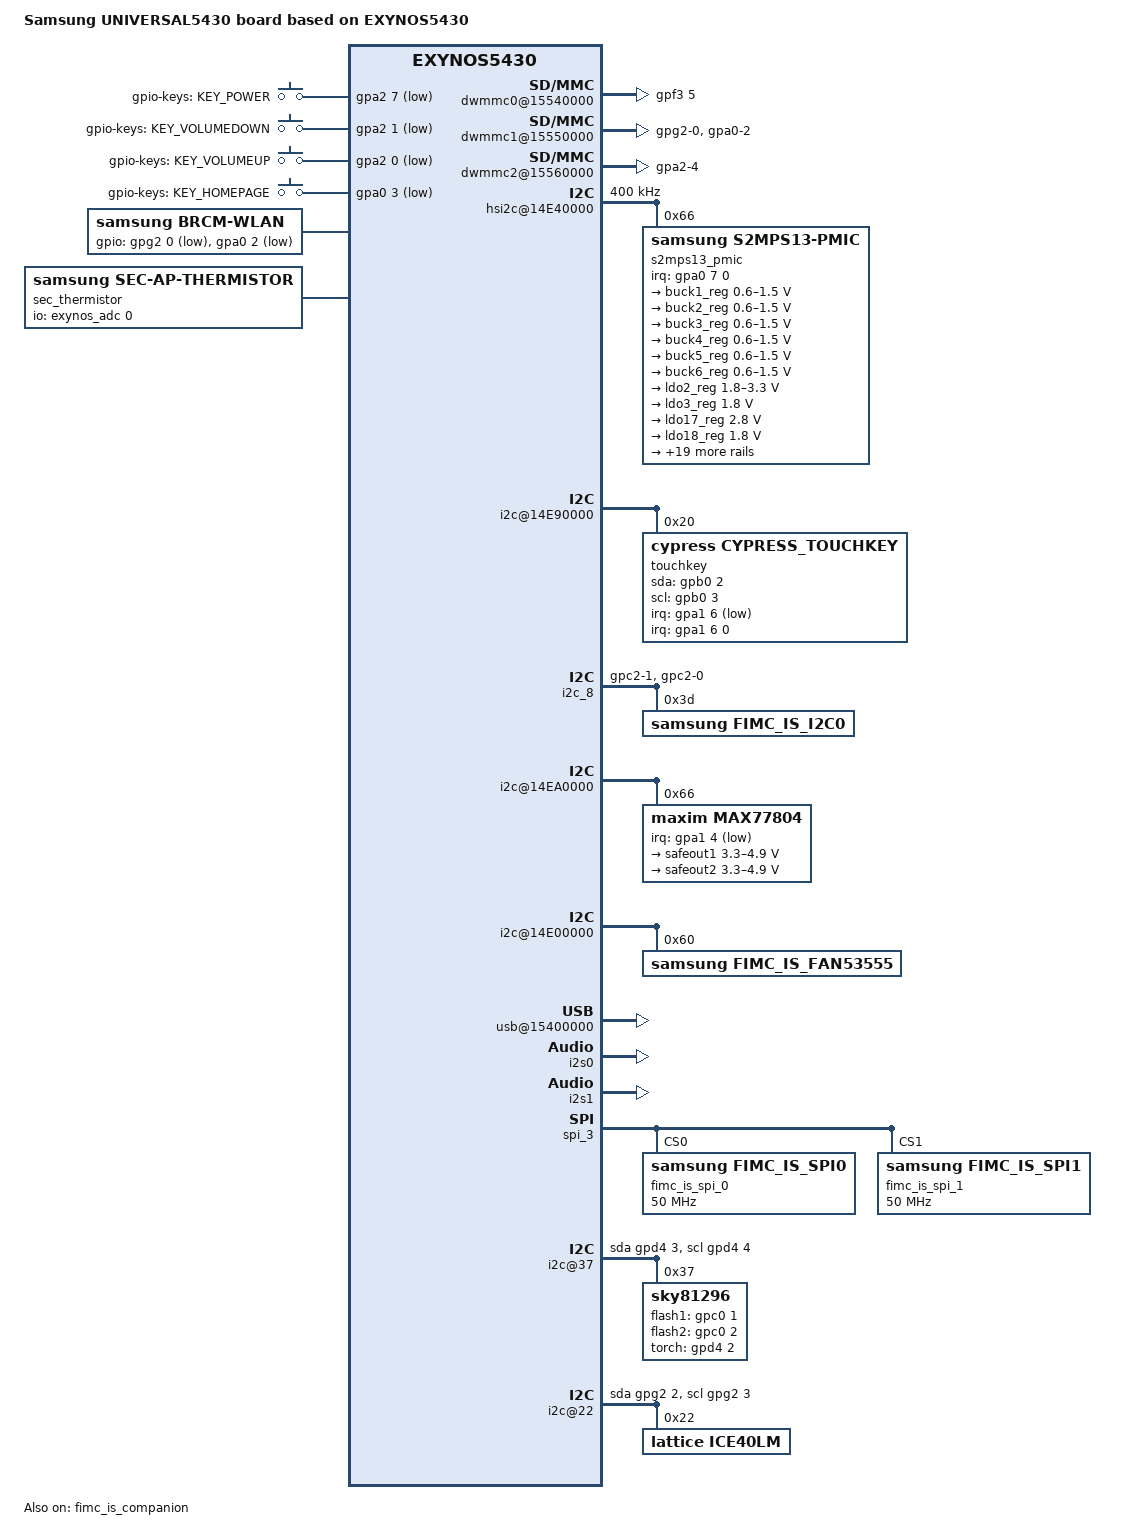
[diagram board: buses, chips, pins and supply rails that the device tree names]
/*
 * SAMSUNG UNIVERSAL5430 board device tree source
 *
 * Copyright (c) 2013 Samsung Electronics Co., Ltd.
 *		http://www.samsung.com
 *
 * This program is free software; you can redistribute it and/or modify
 * it under the terms of the GNU General Public License version 2 as
 * published by the Free Software Foundation.
*/

#include "exynos5430.dtsi"
#include "exynos5430-kq_mhl2x.dtsi"
#include "exynos5430-kq_gpio.dtsi"

/ {
	model = "Samsung UNIVERSAL5430 board based on EXYNOS5430";
	compatible = "samsung,UNIVERSAL5430", "samsung,exynos5430";

	chosen {
		bootargs = "console=ttySAC1,115200 vmalloc=512M";
	};

	fixed-rate-clocks {
		oscclk {
			compatible = "samsung,exynos5430-oscclk";
			clock-frequency = <24000000>;
		};
	};

	dwmmc0@15540000 {
		status = "okay";
		num-slots = <1>;
		broken-cd;
		bypass-smu;
		fixed_volt;
		only_once_tune;
		supports-highspeed;
		supports-hs200-1-8v-mode;
		supports-ddr200-1-8v-mode;
		supports-poweroff-notification;
		error-retry;
		enable-cache-control;
		qos_int_level = <138000>;
		extra_tuning;
		use-fine-tuning;
		ignore-phase = <(1 << 7)>;
		fifo-depth = <0x80>;
		card-detect-delay = <200>;
		samsung,dw-mshc-ciu-div = <3>;
		samsung,dw-mshc-sdr-timing = <3 0 2 0>;
		samsung,dw-mshc-ddr-timing = <3 0 3 2>;
		samsung,dw-mshc-hs200-timing = <3 0 3 0>;
		samsung,dw-mshc-ddr200-timing = <1 1 2 0>;
		samsung,dw-mshc-ddr200-delay-line = <100>;
		clk_pin = "gpr0-0";
		clk_addr = "15690000.pinctrl";
		clk_val = <0x3>;
		clk_str_num = <6>;
		num-ref-clks = <8>;
		ciu_clkin = <25 50 50 100 200 100 200 400>;
		pinctrl-names = "default";
		pinctrl-0 = <&sd0_clk &sd0_cmd &sd0_rdqs &sd0_bus1 &sd0_bus4 &sd0_bus8>;
		gpios = <&gpf3 5 0>;

		slot@0 {
			reg = <0>;
			bus-width = <8>;
		};
	};

	dwmmc1@15550000 {
		status = "okay";
		num-slots = <1>;
		channel = <1>;
		fixed_volt;
		supports-highspeed;
		supports-sdr104-mode;
		keep-power-in-suspend;
		pm-ignore-notify;
		cd-type-external;
		cd-type = <2>;
		use-broken-voltage;
		ignore-phase = <(1 << 7)>;
		fifo-depth = <0x40>;
		card-detect-delay = <200>;
		qos_int_level = <200000>;
		samsung,dw-mshc-ciu-div = <3>;
		samsung,dw-mshc-sdr-timing = <3 0 2 1>;
		samsung,dw-mshc-ddr-timing = <3 0 3 2>;
		clk_pin = "gpr2-0";
		clk_addr = "15690000.pinctrl";
		clk_val = <0x3>;
		clk_str_num = <6>;
		num-ref-clks = <8>;
		ciu_clkin = <25 50 50 100 200 100 200 400>;
		tp_mon_depth = <3>;
						/* Byte/s,	 MIF clk, CPU clk, KFC clk*/
		tp_mon_table = <18000000 825000	1500000 1500000
						12000000 413000	0	0
						0	 0	0	0>;
		pinctrl-names = "default";
		//pinctrl-0 = <&sd1_clk &sd1_cmd &sd1_bus1 &sd1_bus4>;
		pinctrl-0 = <&sd1_clk &sd1_cmd &sd1_bus1 &sd1_bus4 &cfg_wlanen &cfg_wlanhostwake>; /* Set WLAN_EN configuration of power down mode */

		slot@0 {
			reg = <0>;
			bus-width = <4>;
		};
	};


	dwmmc2@15560000 {
		status = "okay";
		num-slots = <1>;
		supports-highspeed;
		cd-type = <0>;
		fifo-depth = <0x40>;
		card-detect-delay = <200>;
		qos_int_level = <200000>;
		samsung,dw-mshc-ciu-div = <3>;
		samsung,dw-mshc-sdr-timing = <3 0 2 1>;
		samsung,dw-mshc-ddr-timing = <3 0 3 2>;
		clk_pin = "gpr4-0";
		clk_addr = "15690000.pinctrl";
		clk_val = <0x2>;
		clk_str_num = <6>;
		num-ref-clks = <8>;
		ciu_clkin = <25 50 50 100 200 100 200 400>;
		pinctrl-names = "default";
		pinctrl-0 = <&sd2_clk &sd2_cmd &sd2_cd &sd2_bus1 &sd2_bus4 &dwmmc2_cd_irq>;

		gpio-controller;
		#gpio-cells = <2>;
		cd-gpio = <&gpa2 4 0xf>;

		slot@0 {
			reg = <0>;
			bus-width = <4>;
			disable-wp;
		};
	};

	serial@11460000 {
		samsung,uart-wake-peer;
	};

	pinctrl@10580000 {
		pmic_irq: pmic-irq {
			samsung,pins = "gpa0-7";
			samsung,pin-function = <0>;
			samsung,pin-pud = <3>;
			samsung,pin-drv = <3>;
		};

		chg_irq: chg-irq {
			samsung,pins = "gpa1-5";
			samsung,pin-function = <0>;
			samsung,pin-pud = <3>;
			samsung,pin-drv = <3>;
		};

		hall_irq: hall-irq {
			samsung,pins = "gpa0-1";
			samsung,pin-function = <0xf>;
			samsung,pin-pud = <0>;
			samsung,pin-drv = <0>;
		};

		mfd_irq: mfd-irq {
			samsung,pins = "gpa1-4";
			samsung,pin-function = <0>;
			samsung,pin-pud = <0>;
			samsung,pin-drv = <0>;
		};

		fuel_irq: fuel-irq {
			samsung,pins = "gpa1-5";
			samsung,pin-function = <0>;
			samsung,pin-pud = <0>;
			samsung,pin-drv = <0>;
		};

		btp_irq: btp-irq {
			samsung,pins = "gpa1-7";
			samsung,pin-function = <0>;
			samsung,pin-pud = <3>;
			samsung,pin-drv = <3>;
		};

		dwmmc2_cd_irq: dwmmc2-cd-irq {
			samsung,pins = "gpa2-4";
			samsung,pin-function = <0>;
			samsung,pin-pud = <3>;
			samsung,pin-drv = <3>;
		};

		btp_reset: btp-reset {
			samsung,pins = "gpa3-1";
			samsung,pin-function = <0>;
			samsung,pin-pud = <3>;
			samsung,pin-drv = <3>;
		};
		ssp_irq: ssp-irq {
			samsung,pins = "gpa3-3";
			samsung,pin-function = <0xf>;
			samsung,pin-pud = <3>;
			samsung,pin-drv = <3>;
		};
		ssp_irq2: ssp-irq2 {
			samsung,pins = "gpa3-4";
			samsung,pin-function = <0>;
			samsung,pin-pud = <3>;
			samsung,pin-drv = <3>;
		};
		ssp_ap_int: ssp-ap-int {
			samsung,pins = "gpa3-7";
			samsung,pin-function = <0>;
			samsung,pin-pud = <3>;
			samsung,pin-drv = <3>;
		};
		hrm_int: hrm-int {
			samsung,pins = "gpa0-6";
			samsung,pin-function = <0>;
			samsung,pin-pud = <0>;
			samsung,pin-drv = <3>;
		};
	};
	pinctrl@14CC0000 {
		/* Warm reset information from AP */
		pm_wrsti: pm-wrsti {
			samsung,pins = "gpf5-4";
			samsung,pin-con-pdn = <3>;
		};
	};
	pinctrl@14CC0000 {
		/* touchkey i2c*/
		cfg_i2c: cfg-i2c {
			samsung,pins = "gpb0-3", "gpb0-2";
			samsung,pin-function = <3>;
			samsung,pin-pud = <0>;
			samsung,pin-drv = <0>;
		};
		cfg_gpio: cfg_gpio {
			samsung,pins = "gpb0-3", "gpb0-2";
			samsung,pin-function = <0>;
			samsung,pin-pud = <0>;
			samsung,pin-drv = <0>;
		};
	};

	pinctrl@10580000 {
		/* touchkey interrupt*/
		cfg_irq: cfg-irq {
			samsung,pins = "gpa1-6";
			samsung,pin-function = <0xf>;
			samsung,pin-pud = <0>;
			samsung,pin-drv = <0>;
		};
		cfg_input: cfg-input {
			samsung,pins = "gpa1-6";
			samsung,pin-function = <0>;
			samsung,pin-pud = <1>;
			samsung,pin-drv = <0>;
		};
	};

	hsi2c@14E40000 {
		samsung,hs-mode;
		clock-frequency = <400000>;
		status = "okay";

		s2mps13_pmic@66 {
			compatible = "samsung,s2mps13-pmic";
			reg = <0x66>;
			interrupts = <7 0 0>;
			interrupt-parent = <&gpa0>;
			pinctrl-names = "default";
			pinctrl-0 = <&pmic_irq &pm_wrsti>;
			/* RTC: wtsr/smpl */
			wtsr_en = <1>; /* enable */
			smpl_en = <1>; /* enable */
			wtsr_timer_val = <3>;	/* 1000ms */
			smpl_timer_val = <4>;	/* 500ms */
			check_jigon = <0>; /* do not check jigon */
			/* RTC: If it's first boot, reset rtc to 1/1/2014 12:00:00(Wed) */
			init_time,sec = <0>;
			init_time,min = <0>;
			init_time,hour = <12>;
			init_time,mday = <1>;
			init_time,mon = <0>;
			init_time,year = <114>;
			init_time,wday = <3>;

			regulators {
				buck1_reg: BUCK1 {
					regulator-name = "vdd_mif";
					regulator-min-microvolt = <600000>;
					regulator-max-microvolt = <1500000>;
					regulator-always-on;
					regulator-boot-on;
					regulator-ramp-delay = <12000>;
					regulator-initial-mode = <1>;
				};

				buck2_reg: BUCK2 {
					regulator-name = "vdd_eagle";
					regulator-min-microvolt = <600000>;
					regulator-max-microvolt = <1500000>;
					regulator-always-on;
					regulator-boot-on;
					regulator-ramp-delay = <12000>;
					regulator-initial-mode = <1>;
				};

				buck3_reg: BUCK3 {
					regulator-name = "vdd_kfc";
					regulator-min-microvolt = <600000>;
					regulator-max-microvolt = <1500000>;
					regulator-always-on;
					regulator-boot-on;
					regulator-ramp-delay = <12000>;
					regulator-initial-mode = <1>;
				};

				buck4_reg: BUCK4 {
					regulator-name = "vdd_int";
					regulator-min-microvolt = <600000>;
					regulator-max-microvolt = <1500000>;
					regulator-always-on;
					regulator-boot-on;
					regulator-ramp-delay = <12000>;
					regulator-initial-mode = <1>;
				};

				buck5_reg: BUCK5 {
					regulator-name = "vdd_disp_cam0";
					regulator-min-microvolt = <600000>;
					regulator-max-microvolt = <1500000>;
					regulator-always-on;
					regulator-boot-on;
					regulator-ramp-delay = <12000>;
					regulator-initial-mode = <1>;
				};

				buck6_reg: BUCK6 {
					regulator-name = "vdd_g3d";
					regulator-min-microvolt = <600000>;
					regulator-max-microvolt = <1500000>;
					regulator-always-on;
					regulator-boot-on;
					regulator-ramp-delay = <12000>;
					regulator-initial-mode = <1>;
				};

				ldo2_reg: LDO2 {
					regulator-name = "vqmmc";
					regulator-min-microvolt = <1800000>;
					regulator-max-microvolt = <3300000>;
					regulator-boot-on;
					regulator-ramp-delay = <12000>;
					regulator-initial-mode = <1>;
				};

				ldo3_reg: LDO3 {
					regulator-name = "VDD1_E_1.8V_AP";
					regulator-min-microvolt = <1800000>;
					regulator-max-microvolt = <1800000>;
					regulator-always-on;
					regulator-initial-mode = <3>;
				};

				ldo17_reg: LDO17 {
					regulator-name = "vmmc";
					regulator-min-microvolt = <2800000>;
					regulator-max-microvolt = <2800000>;
				};

				ldo18_reg: LDO18 {
					regulator-name = "V_HRM_1.8V";
					regulator-min-microvolt = <1800000>;
					regulator-max-microvolt = <1800000>;
				};

				ldo19_reg: LDO19 {
					regulator-name = "VDDA_1.8V_COMP";
					regulator-min-microvolt = <1800000>;
					regulator-max-microvolt = <1800000>;
				};

				ldo21_reg: LDO21 {
					regulator-name = "VT_CAM_1.8V";
					regulator-min-microvolt = <1800000>;
					regulator-max-microvolt = <1800000>;
				};

				ldo22_reg: LDO22 {
					regulator-name = "CAM_IO_1.8V_AP";
					regulator-min-microvolt = <1800000>;
					regulator-max-microvolt = <1800000>;
				};

				ldo23_reg: LDO23 {
					regulator-name = "CAM_SEN_CORE_1.2V_AP";
					regulator-min-microvolt = <1200000>;
					regulator-max-microvolt = <1200000>;
				};

				ldo24_reg: LDO24 {
					regulator-name = "VT_CAM_1.2V";
					regulator-min-microvolt = <1200000>;
					regulator-max-microvolt = <1200000>;
				};

				ldo25_reg: LDO25 {
					regulator-name = "CAM_SEN_A2.8V_AP";
					regulator-min-microvolt = <2800000>;
					regulator-max-microvolt = <2800000>;
				};

				ldo26_reg: LDO26 {
					regulator-name = "CAM_AF_2.8V_AP";
					regulator-min-microvolt = <2800000>;
					regulator-max-microvolt = <2800000>;
				};

				ldo27_reg: LDO27 {
					regulator-name = "VCC_3.0V_LCD_AP";
					regulator-min-microvolt = <3000000>;
					regulator-max-microvolt = <3000000>;
					regulator-boot-on;
				};

				ldo28_reg: LDO28 {
					regulator-name = "VCC_1.8V_LCD_AP";
					regulator-min-microvolt = <1800000>;
					regulator-max-microvolt = <1800000>;
					regulator-boot-on;
				};

				ldo29_reg: LDO29 {
					regulator-name = "VT_CAM_2.8V";
					regulator-min-microvolt = <2800000>;
					regulator-max-microvolt = <2800000>;
				};

				ldo30_reg: LDO30 {
					regulator-name = "tsp_avdd";
					regulator-min-microvolt = <3300000>;
					regulator-max-microvolt = <3300000>;
				};

				ldo31_reg: LDO31 {
					regulator-name = "tsp_io";
					regulator-min-microvolt = <1800000>;
					regulator-max-microvolt = <1800000>;
				};

				ldo32_reg: LDO32 {
					regulator-name = "vtouch_1.8v";
					regulator-min-microvolt = <1800000>;
					regulator-max-microvolt = <1800000>;
				};

				ldo33_reg: LDO33 {
					regulator-name = "vtouch_3.3v";
					regulator-min-microvolt = <3300000>;
					regulator-max-microvolt = <3300000>;
				};

				ldo34_reg: LDO34 {
					regulator-name = "VCC_1.8V_MHL";
					regulator-min-microvolt = <1800000>;
					regulator-max-microvolt = <1800000>;
				};

				ldo35_reg: LDO35 {
					regulator-name = "FPGA_3.3V";
					regulator-min-microvolt = <3300000>;
					regulator-max-microvolt = <3300000>;
				};

				ldo36_reg: LDO36 {
					regulator-name = "VSIL_1.2V";
					regulator-min-microvolt = <1200000>;
					regulator-max-microvolt = <1200000>;
				};

				ldo38_reg: LDO38 {
					regulator-name = "VCC_3.0V_MOTOR_AP";
					regulator-min-microvolt = <3000000>;
					regulator-max-microvolt = <3000000>;
				};

				ldo40_reg: LDO40 {
					regulator-name = "V_IRLED_3.3V";
					regulator-min-microvolt = <3300000>;
					regulator-max-microvolt = <3300000>;
					regulator-initial-mode = <1>;
				};
			};
		};
	};

	i2c@14E90000 {
		samsung,i2c-sda-delay = <100>;
		samsung,i2c-max-bus-freq = <400000>;
		status = "okay";
		pinctrl-names = "default","on_i2c","off_i2c";
		pinctrl-0 = <&i2c5_bus>;
		pinctrl-1 = <&cfg_i2c>;
		pinctrl-2 = <&cfg_gpio>;
		touchkey@20 {
			pinctrl-names = "on_irq","off_irq";
			pinctrl-0 = <&cfg_irq>;
			pinctrl-1 = <&cfg_input>;
			compatible = "cypress,cypress_touchkey";
			reg = <0x20>;
			interrupts = <6 0 0>;
			interrupt-parent = <&gpa1>;
			cypress,sda-gpio = <&gpb0 2 0>;
			cypress,scl-gpio = <&gpb0 3 0>;
			cypress,irq-gpio = <&gpa1 6 1>;
		};
	};

	i2c_8: i2c@14130000 {
                compatible = "samsung,exynos5430-fimc-i2c";
                reg = <0x14130000 0x1000>;
                interrupts = <0 166 0>; /* NON */
                #address-cells = <1>;
                #size-cells = <0>;
                pinctrl-names = "default";
                pinctrl-0 = <&fimc_is_i2c_0>;
                clocks = <&clock 4184>, <&clock 4184>; /* No clock gating */
                clock-names = "rate_i2c","gate_i2c";
                samsung,i2c-sda-delay = <100>;
                samsung,i2c-max-bus-freq = <400000>;
                status = "okay";

                fimc_is_i2c0@3d {
                        compatible = "samsung,fimc_is_i2c0";
                        reg = <0x3d>;
                };
        };


	i2c@14EA0000 {
		samsung,i2c-sda-delay = <100>;
		samsung,i2c-max-bus-freq = <400000>;
		status = "okay";
		max77804@66 {
			compatible = "maxim,max77804";
			reg = <0x66>;
			pinctrl-names = "default";
			pinctrl-0 = <&mfd_irq &vibetonz_pwm>;
			max77804,irq-gpio = <&gpa1 4 1>;
			max77804,wakeup;

			regulators {
				safeout1: ESAFEOUT1 {
					regulator-compatible = "safeout1";
					regulator-name = "safeout1_range";
					regulator-min-microvolt = <3300000>;
					regulator-max-microvolt = <4900000>;
					regulator-boot-on;
				};

				safeout2: ESAFEOUT2 {
					regulator-compatible = "safeout2";
					regulator-name = "safeout2_range";
					regulator-min-microvolt = <3300000>;
					regulator-max-microvolt = <4900000>;
				};
			};
		};
	};

	haptic {
		status = "okay";
		haptic,max_timeout = <10000>;
		haptic,duty = <32047>;
		haptic,period = <33500>;
		haptic,reg2 = <0x82>;
		haptic,pwm_id = <0>;
		haptic,regulator_name = "VCC_3.0V_MOTOR_AP";
	};

	i2c@14E00000 {
		fimc_is_fan53555@60 {
			compatible = "samsung,fimc_is_fan53555";
			reg = <0x60>;
			comp_en = <&gpf1 7 0x01>;
			status = "okay";
		};
	};

	/* disp_driver */
	decon_fb: decon_fb {
		oled-id-gpio = <&gpf2 1 0x0>;
		lcd_info = <&s6e3ha0 &s6e3fa2>;
		display,regulator-names = "VCC_1.8V_LCD_AP", "VCC_3.0V_LCD_AP";

		mipi_dsi: mipi_dsi {
			gpios = <&gpv7 2 0x1>, <&gpf1 5 0x1>;

			/* Interface definition: 0 - DSIM_COMMAND,
						 1 - DSIM_VDEO */
			e_interface = <0>;

			/* Pixel format : 0 - DSIM_CMD_3BPP,
					  1 - DSIM_CMD_8BPP,
					  2 - DSIM_CMD_12BPP,
					  3 - DSIM_CMD_16BPP,
					  4 - DSIM_VID_16BPP_565,
					  5 - DSIM_VID_18BPP_666PACKED,
					  6 - DSIM_18BPP_666LOOSELYPACKED,
					  7 - DSIM_24BPP_888 */
			e_pixel_format = <7>;

			/* main frame fifo auto flush at VSYNC pulse */
			auto_flush = <0>;
			eot_disable = <1>;
			auto_vertical_cnt = <0>;
			hse = <0>;
			hfp = <0>;
			hbp = <0>;
			hsa = <0>;

			/* num of data lane : 0 - DSIM_DATA_LANE_1,
					      1 - DSIM_DATA_LANE_2,
					      2 - DSIM_DATA_LANE_3,
					      3 - DSIM_DATA_LANE_4 */
			e_no_data_lane = <3>;
			/* byte clock divider : 0 - DSIM_PLL_OUT_DIV8,
						1 - DSIM_EXT_CLK_DIV8,
						2 - DSIM_EXT_CLK_BYPASS */
			e_byte_clk = <0>;
			/* Burst mode : 0 - DSIM_NON_BURST_SYNC_EVENT,
					2 - DSIM_NON_BURST_SYNC_PULSE,
					1 - DSIM_BURST
					4 - DSIM_NON_VIDEO_MODE */
			e_burst_mode = <1>;
			/* D-PHY PLL stable time spec :min = 200usec ~ max 400usec */
			pll_stable_time = <22200>;
			/* stop state holding counter after bta change count 0 ~ 0xfff */
			stop_holding_cnt = <10>;
			/* bta timeout 0 ~ 0xff */
			bta_timeout = <0xff>;
			/* lp rx timeout 0 ~ 0xffff */
			rx_timeout = <0xffff>;
		};
		s6e3ha0: s6e3ha0_wqhd {
			mode = <1>;
			resolution = <1440 2560>;
			size = <65 115>;
			timing,refresh = <60>;
			timing,h-porch = <1 1 1>;
			timing,v-porch = <15 1 1>;
			timing,dsi-hs-clk = <1100>;
			timing,dsi-escape-clk = <20>;
			mic = <1>;
		};
		s6e3fa2: s6e3fa2_fhd {
			mode = <1>;
			resolution = <1080 1920>;
			size = <65 115>;
			timing,refresh = <60>;
			timing,h-porch = <10 1 1>;
			timing,v-porch = <1 1 1>;
			timing,dsi-hs-clk = <1100>;
			timing,dsi-escape-clk = <20>;
		};
	};

	usb@15400000 {
		status = "okay";
		/* using gpio (1:use, 0:not use) */
		is_gpio = <0>;

		dwc3 {
			maximum-speed = "super-speed";
			dr_mode = "otg";
		};
	};

	usb@15510000 {
		/* using gpio (1:use, 0:not use) */
		is_gpio = <0>;
	};

	usb_notifier {
		compatible = "samsung,usb-notifier";
	};

	gpio_keys {
		compatible = "gpio-keys";
		#address-cells = <1>;
		#size-cells = <0>;
		poll-interval = <100>;
		button@1 {
			label = "gpio-keys: KEY_POWER";
			interrupts = <7 0 0>;
			interrupt-parent = <&gpa2>;
			linux,code = <116>;
			gpios = <&gpa2 7 0xf>;
			gpio-key,wakeup = <1>;
		};
		button@2 {
			label = "gpio-keys: KEY_VOLUMEDOWN";
			interrupts = <1 0 0>;
			interrupt-parent = <&gpa2>;
			linux,code = <114>;
			gpios = <&gpa2 1 0xf>;
		};
		button@3 {
			label = "gpio-keys: KEY_VOLUMEUP";
			interrupts = <0 0 0>;
			interrupt-parent = <&gpa2>;
			linux,code = <115>;
			gpios = <&gpa2 0 0xf>;
		};
		button@4 {
			label = "gpio-keys: KEY_HOMEPAGE";
			interrupts = <3 0 0>;
			interrupt-parent = <&gpa0>;
			linux,code = <172>;
			gpios = <&gpa0 3 0xf>;
			gpio-key,wakeup = <1>;
		};
	};

	sec_input_debug-keys {
		compatible = "sec_input_debug-keys";

		button@1 {
			label = "debug-keys: KEY_POWER";
			linux,code = <116>;
		};
		button@2 {
			label = "debug-keys: KEY_VOLUMEDOWN";
			linux,code = <114>;
			state = "true";
		};
		button@3 {
			label = "debug-keys: KEY_VOLUMEUP";
			linux,code = <115>;
		};
	};

	i2s0: i2s@11440000 {
		status = "okay";
	};

	i2s1: i2s@14D60000 {
		status = "okay";
	};

	spi_3: spi@141a0000 {
		clocks = <&clock 2625>, <&clock 4083>; /* Workaround for SPI read in A5 */
		clock-names = "spi", "spi_busclk0";    /* Must be removed later */
		#address-cells = <1>;
		#size-cells = <0>;

		num-cs = <2>;

		fimc_is_spi_0@0 {
			compatible = "samsung,fimc_is_spi0";
			spi-max-frequency = <50000000>;
			reg = <0x0>;

			controller-data {
				cs-gpio = <&gpc0 6 0>;
				samsung,spi-feedback-delay = <0>;
			};
		};

		fimc_is_spi_1@1 {
			compatible = "samsung,fimc_is_spi1";
			fimc_is_spi_sclk = "gpc3-0";
			fimc_is_spi_ssn = "gpc3-1";
			fimc_is_spi_miso = "gpc3-2";
			fimc_is_spi_mois = "gpc3-3";
			spi-max-frequency = <50000000>;
			reg = <0x1>;
			pinctrl-names = "default";
			pinctrl-0 = <&fimc_is_comp_int>;

			controller-data {
				cs-gpio = <&gpc3 1 0>;
				samsung,spi-feedback-delay = <0>;
			};
		};
	};

	/* Companion driver */
	fimc_is_companion: fimc_is_companion@14180000 {
		compatible = "samsung,exynos5-fimc-is-companion";
		pinctrl-names ="default", "ch0", "af0", "off0";
		pinctrl-0 = <&fimc_is_ch0_mclk_off>;
		pinctrl-1 = <&fimc_is_ch0_i2c &fimc_is_ch0_mclk>;
		pinctrl-2 = <&fimc_is_ch0_i2c &fimc_is_ch0_mclk &fimc_is_ch1_i2c>;
		pinctrl-3 = <&fimc_is_ch0_mclk_off>;

		scenario = <0>;
		mclk_ch = <0>;
		gpio_reset = <&gpc0 4 0x1>;
		gpios_comp_en = <&gpf1 7 0x1>; /* COMP_EN */
		gpios_comp_reset = <&gpf5 7 0x1>; /* COMP_rstn */

		status = "okay";
	};

	fimc_is_sensor0: fimc_is_sensor@12100000 {
		scenario = <0>;
		gpio_reset = <&gpc0 4 0x1>;
		id = <0>;
		mclk_ch = <0>;
		csi_ch = <0>;
		flite_ch = <0>;
		i2c_ch = <0x100>;
		i2c_addr = <0x5A5A>;
		flash_first_gpio = <1>;
		flash_second_gpio = <2>;
		sensor_name = "2p2";
		sensor_id = <10>;
		is_bns = <1>;
		status = "okay";
	};

	fimc_is_sensor1: fimc_is_sensor@12110000 {
		pinctrl-names ="default", "ch2", "off2";
		pinctrl-0 = <&fimc_is_ch2_mclk_off>;
		pinctrl-1 = <&fimc_is_ch2_i2c &fimc_is_ch2_mclk>;
		pinctrl-2 = <&fimc_is_ch2_mclk_off>;

		scenario = <0>;
		gpio_reset = <&gpc0 3 0x1>;
		gpio_standby = <&gpc0 0 0x1>;
		id = <1>;
		mclk_ch = <2>;
		csi_ch = <2>;
		flite_ch = <2>;
		i2c_ch = <0x2>;
		i2c_addr = <0x6A>;
		sensor_name = "8b1";
		sensor_id = <11>;
		is_bns = <0>;
		status = "okay";
	};

	fimc_is@14000000 {
		interrupts = <0 165 0>; /* Remove ISP_GIC to use FIMC IS i2c channel in host */
		companion_spi_channel = <0>;
		use_vision = <1>;
		fimc_is_dvfs {
			default_int = <543000>; /* L0 */
			default_cam = <777000>; /* L0 */
			default_mif = <825000>; /* L0 */
			default_i2c = <0>;

			front_preview_int = <317000>; /* L1 */
			front_preview_cam = <222000>; /* L7 */
			front_preview_mif = <825000>; /* L0 */
			front_preview_i2c = <0>;

			front_capture_int = <317000>; /* L1 */
			front_capture_cam = <222000>; /* L7 */
			front_capture_mif = <825000>; /* L0 */
			front_capture_i2c = <0>;

			front_camcording_int = <317000>; /* L1 */
			front_camcording_cam = <222000>; /* L7 */
			front_camcording_mif = <825000>; /* L0 */
			front_camcording_i2c = <0>;

			front_vt1_int = <317000>; /* L1 */
			front_vt1_cam = <222000>; /* L7 */
			front_vt1_mif = <825000>; /* L0 */
			front_vt1_i2c = <0>;

			front_vt2_int = <317000>; /* L1 */
			front_vt2_cam = <222000>; /* L7 */
			front_vt2_mif = <825000>; /* L0 */
			front_vt2_i2c = <0>;

			rear_preview_fhd_int = <317000>; /* L1 */
			rear_preview_fhd_cam = <333000>; /* L6 */
			rear_preview_fhd_mif = <633000>; /* L1 */
			rear_preview_fhd_i2c = <0>;

			rear_preview_whd_int = <317000>; /* L1 */
			rear_preview_whd_cam = <333000>; /* L6 */
			rear_preview_whd_mif = <825000>; /* L0 */
			rear_preview_whd_i2c = <0>;

			rear_preview_uhd_int = <543000>; /* L0_A */
			rear_preview_uhd_cam = <555000>; /* L2 */
			rear_preview_uhd_mif = <825000>; /* L0 */
			rear_preview_uhd_i2c = <0>;

			rear_capture_int = <400000>; /* L0 */
			rear_capture_cam = <666000>; /* L1 */
			rear_capture_mif = <825000>; /* L0 */
			rear_capture_i2c = <0>;

			rear_camcording_fhd_int = <317000>; /* L1 */
			rear_camcording_fhd_cam = <455000>; /* L4 */
			rear_camcording_fhd_mif = <633000>; /* L1 */
			rear_camcording_fhd_i2c = <0>;

			rear_camcording_uhd_int = <543000>; /* L0_A */
			rear_camcording_uhd_cam = <555000>; /* L2 */
			rear_camcording_uhd_mif = <825000>; /* L0 */
			rear_camcording_uhd_i2c = <0>;

			dual_preview_int = <317000>; /* L1 */
			dual_preview_cam = <444000>; /* L5 */
			dual_preview_mif = <825000>; /* L0 */
			dual_preview_i2c = <0>;

			dual_capture_int = <400000>; /* L0 */
			dual_capture_cam = <777000>; /* L0 */
			dual_capture_mif = <825000>; /* L0 */
			dual_capture_i2c = <0>;

			dual_camcording_int = <317000>; /* L1 */
			dual_camcording_cam = <466000>; /* L3 */
			dual_camcording_mif = <825000>; /* L0 */
			dual_camcording_i2c = <0>;

			high_speed_fps_int = <400000>; /* L0 */
			high_speed_fps_cam = <666000>; /* L1 */
			high_speed_fps_mif = <825000>; /* L0 */
			high_speed_fps_i2c = <0>;

			dis_enable_int = <543000>; /* L0 */
			dis_enable_cam = <777000>; /* L0 */
			dis_enable_mif = <825000>; /* L0 */
			dis_enable_i2c = <0>;

			max_int = <543000>; /* L0 */
			max_cam = <777000>; /* L0 */
			max_mif = <825000>; /* L0 */
			max_i2c = <0>;
		};
	};

	pinctrl@14CC0000 {
		fimc_is_ch0_i2c: fimc-is-ch0_i2c {
			samsung,pins = "gpc2-3", "gpc2-2";
			samsung,pin-function = <2>;
			samsung,pin-pud = <3>;
			samsung,pin-drv = <6>;
		};
		fimc_is_i2c_0: fimc-is-i2c-0 {
			samsung,pins = "gpc2-1", "gpc2-0";
                        samsung,pin-function = <2>;
                        samsung,pin-pud = <3>;
                        samsung,pin-drv = <6>;
		};
		fimc_is_flash: fimc-is-flash {
			samsung,pins = "gpc0-2", "gpc0-1";
			samsung,pin-function = <2>;
			samsung,pin-pud = <0>;
			samsung,pin-drv = <0>;
		};
		driver_flash: driver-flash {
			samsung,pins = "gpc0-2", "gpc0-1";
			samsung,pin-function = <1>;
			samsung,pin-pud = <0>;
			samsung,pin-drv = <0>;
		};
		fimc_is_comp_int: fimc-is-comp-int {
			samsung,pins = "gpc1-0";
			samsung,pin-function = <3>;
			samsung,pin-pud = <0>;
			samsung,pin-drv = <0>;
		};
		sky_torch: sky-torch {
			samsung,pins = "gpc0-5";
			samsung,pin-function = <1>;
			samsung,pin-pud = <0>;
			samsung,pin-drv = <0>;
		};
		uart1_bus: uart1-bus {
			samsung,pins = "gpd1-1", "gpd1-0";
			samsung,pin-function = <2>;
			samsung,pin-pud = <0>;
		};

		fimc_is_ch0_mclk: fimc-is-ch0_mclk {
			samsung,pin-drv = <2>;
		};

		fimc_is_ch0_mclk_off: fimc-is-ch0_mclk_off {
			samsung,pins = "gpd7-0";
			samsung,pin-function = <1>;
			samsung,pin-pud = <1>;
			samsung,pin-drv = <0>;
		};

		fimc_is_ch2_mclk: fimc-is-ch2-mclk {
			samsung,pin-drv = <2>;
		};

		fimc_is_ch2_mclk_off: fimc-is-ch2_mclk_off {
			samsung,pins = "gpd7-2";
			samsung,pin-function = <1>;
			samsung,pin-pud = <1>;
			samsung,pin-drv = <0>;
		};
	};

	pinctrl@14CC0000 {
		btp_ldo: btp-ldo {
			samsung,pins = "gpf4-0";
			samsung,pin-function = <1>;
			samsung,pin-pud = <1>;
			samsung,pin-drv = <0>;
		};

		ssp_reset: ssp-reset {
			samsung,pins = "gpd4-0";
			samsung,pin-function = <0>;
			samsung,pin-pud = <3>;
			samsung,pin-drv = <3>;
		};
	};

	i2s_dummy: dummy-i2s {
		compatible = "samsung,dummy-i2s";
		status = "okay";
	};

	codec_dummy: dummy-codec {
		compatible = "samsung,dummy-codec";
		status = "okay";
	};

	sound {
		compatible = "samsung,pacific-arizona";
		samsung,audio-cpu = <&i2s0		/* primary */
				     &i2s_dummy
				     &i2s_dummy
				     &i2s0		/* secondary */
				     &i2s1>;
		samsung,audio-codec = <&audio_codec
				       &audio_codec
				       &audio_codec
				       &audio_codec
				       &codec_dummy>;
		status = "okay";
	};

	hdmi {
		compatible = "samsung,pacific-hdmi";
		samsung,audio-cpu = <&i2s1>;
		samsung,audio-codec = <&codec_dummy>;
		status = "okay";
	};

	muic {
		status = "disabled";
		muic,support-list = "MHL","OTG","Jig USB On","Jig UART Off",
				    "Jig UART Off + VB","Jig UART On",
				    "TA","USB","CDP","Unofficial",
				    "Fuelgauge test";
	};

	rgb {
		rgb-name = "led_w", "led_r", "led_g", "led_b";
	};

	hall {
		status = "okay";
		compatible = "hall";
		pinctrl-names = "default";
		pinctrl-0 = <&hall_irq>;
		hall,gpio_flip_cover = <&gpa0 1 0>;
	};

	i2c@37 {
		compatible = "i2c-gpio";
		gpios = <&gpd4 3 0
		&gpd4 4 0
		>;
		i2c-gpio,delay-us = <2>;
		#address-cells = <1>;
		#size-cells = <0>;
		status = "okay";

		sky81296@37 {
			compatible = "sky81296";
			reg = <0x37>;
			sky81296,dev_name = "sky81296";
			pinctrl-names = "driver-flash", "sky-torch";
			pinctrl-0 = <&driver_flash &sky_torch>;
			pinctrl-1 = <&sky_torch>;
			sky81296,flash1-gpio = <&gpc0 1 0>;
			sky81296,flash2-gpio = <&gpc0 2 0>;
			sky81296,torch-gpio = <&gpd4 2 0>;
		};
	};

	i2c@22 {
		compatible = "i2c-gpio";
		gpios = <&gpg2 2 0 /* sda */
			&gpg2 3 0 /* scl */
			>;
		i2c-gpio,delay-us = <2>;
		#address-cells = <1>;
		#size-cells = <0>;
		status = "okay";
		ice40lm@22 {
			compatible = "lattice,ice40lm";
			reg = <0x22>;
			ice40lm,creset_b = <&gpv7 1 0>;
			ice40lm,cdone = <&gpf0 1 0>;
			ice40lm,irda_irq = <&gpf0 4 0>;
			ice40lm,spi_si_sda = <&gpg2 2 0>;
			ice40lm,spi_clk_scl = <&gpg2 3 0>;
			ice40lm,spi_en_rstn = <&gpd4 2 0>;
			ice40lm,power = "REG";
			ice40lm,regulator_name = "V_IRLED_3.3V";
			clocks = <&clock 5050>;
			clock-names = "gate_clkout";
		};
	};


	pinctrl@14CC0000 {
		cfg_wlanen: cfg-wlanen {
			samsung,pins = "gpg2-0";
			samsung,pin-function = <1>;
			samsung,pin-pud = <0>;
			samsung,pin-drv = <3>;
			samsung,pin-con-pdn = <3>;
			samsung,pin-pud-pdn = <0>;
		};
	};

	pinctrl@10580000 {
		cfg_wlanhostwake: cfg-wlanhostwake {
			samsung,pins = "gpa0-2";
			samsung,pin-function = <0xF>;
			samsung,pin-pud = <1>;
			samsung,pin-con-pdn = <2>;
			samsung,pin-pud-pdn = <0>;
		};
	};

	wlan {
		compatible = "samsung,brcm-wlan";
		gpios = <&gpg2 0 0x1	/* WLAN_EN */
				&gpa0 2 0xF	/* WLAN_HOST_WAKE */
				>;
		pinctrl-names = "default";
		pinctrl-0=<&cfg_wlanen &cfg_wlanhostwake>;
		status = "okay";
	};

	input_booster {
		status = "okay";
		compatible = "input_booster";
		#address-cells = <1>;
		#size-cells = <0>;

		booster_key@1{
			input_booster,label = "TOUCH";
			input_booster,code = <0x232>;

			input_booster,levels = <1 2 3 4 5 9 10>;

			/* Frequency table */
			/* for level	:		1_Head, 2_Tail, 3_Head, 4_Head/Tail, 5_Head, 9_Head, 9_Tail */
			input_booster,cpu_freqs = <1600000 0 0 0 1200000 2100000 1600000>;
			input_booster,kfc_freqs = <1000000 1200000 1300000 1300000 800000 1500000 1500000>;
			input_booster,mif_freqs = <633000 413000 413000 633000 633000 825000 825000>;
			input_booster,int_freqs = <317000 133000 133000 133000 317000 400000 400000>;

			/* Time table */
			input_booster,chg_times = <130 130 130 130 100 500 0>;
			input_booster,off_times = <500 500 500 200 500 1000 0>;
			input_booster,pri_times = <0 0 0 0 40 0 0>;
		};
		/* If you need to add new key type, add it this position */
	};

	ion {
		compatible = "samsung,exynos5430-ion";

		contig-names = "common",
			       "mfc_sh",
			       "g2d_wfd",
			       "video",
			       "sectbl",
			       "mfc_fw",
			       "mfc_nfw",
			       "secdma";

		contig = <0 0x400000 0x0>,
		         <2 0x100000 0x0>,
		         <10 0x800000 0x0>,
		         <11 0xC800000 0x0>,
		         <9 0x100000 0x0>,
		         <8 0x200000 0x0>,
		         <12 0x200000 0x0>,
		         <13 0x20000 0x0>;

		contig-isolate_on_boot = <0>, <2>, <8>,
					  <9>, <10>, <11>, <12>, <13>;

		ion_noncontig_heap {
			id-type = <0 0>;
		};

		exynos_contig_heap {
			id-type = <4 6>;
		};
	};

	ipa_pdata {
		compatible = "samsung,exynos-ipa";

		control_temp = <61>;
		temp_threshold = <10>;
		enabled = <1>;
		tdp = <3500>;
		boost = <1>;
		ros_power = <500>;
		a7_weight = <1024>;
		a15_weight = <256>;
		gpu_weight = <256>;
		a7_max_power = <1000>;
		a15_max_power = <6552>;
		gpu_max_power = <3110>;
		hotplug_out_threshold = <5>;
		hotplug_in_threshold = <0>;
		enable_ctlr = <1>;
		ctlr.mult = <2>;
		ctlr.k_i = <1>;
		ctlr.k_d = <0>;
		ctlr.feed_forward = <1>;
		ctlr.integral_reset_value = <0>;
		ctlr.integral_cutoff = <0>;
		ctlr.integral_reset_threshold = <5>;
	};

	sec_thermistor {
		compatible = "samsung,sec-ap-thermistor";
		status = "okay";

		adc_array = <127 135 143 151 159 167 175 183 191 199 207 208 211 216 221 230 235 241 248 254
				 262 274 279 291 296 309 318 320 334 343 349 362 374 383 396 413 420 432 442 452
				 467 486 501 516 528 545 561 570 592 613 634 655 676 697 720 743 766 789 812 835
				 858 881 904 927 950 973 992 1011 1030 1049 1068 1087 1106 1127 1146 1165 1184 1203
				 1222 1241 1260 1284 1308 1332 1356 1380 1407 1435 1462 1493 1524 1555 1586 1617 1648
				 1679 1710 1741 1772 1803 1834 1865 1896 1927 1958 1989 2020 2051 2082 2113 2144>;

		temp_array = <900 890 880 870 860 850 840 830 820 810 800 790 780 770 760 750 740 730 720 710
				 700 690 680 670 660 650 640 630 620 610 600 590 580 570 560 550 540 530 520 510
				 500 490 480 470 460 450 440 430 420 410 400 390 380 370 360 350 340 330 320 310
				 300 290 280 270 260 250 240 230 220 210 200 190 180 170 160 150 140 130 120 110
				 100 90 80 70 60 50 40 30 20 10 0 (-10) (-20) (-30) (-40) (-50) (-60) (-70) (-80)
				 (-90) (-100) (-110) (-120) (-130) (-140) (-150) (-160) (-170) (-180) (-190) (-200)>;

		io-channels = <&exynos_adc 0>;
		io-channel-names = "adc-ap-temp";
		io-channel-ranges;
	};

	secgpio_dvs {
		compatible = "samsung,exynos5430-secgpio-dvs";
		status = "okay";
	};
};
